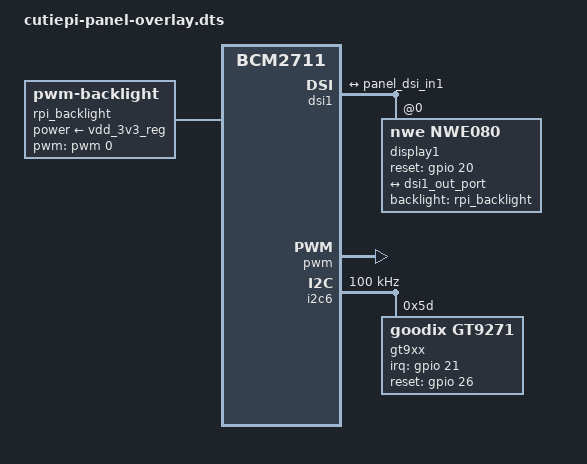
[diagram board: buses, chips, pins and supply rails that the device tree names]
/dts-v1/;
/plugin/;

/ {
    compatible = "brcm,bcm2711";

    fragment@0 {
        target=<&dsi1>;

        __overlay__ {
            status = "okay";

            #address-cells = <1>;
            #size-cells = <0>;

            port {
                dsi1_out_port: endpoint {
                    remote-endpoint = <&panel_dsi_in1>;
                };
            };

            display1: panel@0 {
                compatible = "nwe,nwe080";
                reg=<0>;
                backlight = <&rpi_backlight>;
                reset-gpios = <&gpio 20 0>;
                port {
                    panel_dsi_in1: endpoint {
                        remote-endpoint = <&dsi1_out_port>;
                    };
                };
            };
        };
    };

    fragment@1 {
        target = <&gpio>;
        __overlay__ {
            pwm_pins: pwm_pins {
                brcm,pins = <12>;
                brcm,function = <4>; // ALT0
            };
        };
    };

    fragment@2 {
        target = <&pwm>;
        frag1: __overlay__ {
            pinctrl-names = "default";
            pinctrl-0 = <&pwm_pins>;
            assigned-clock-rates = <1000000>;
            status = "okay";
        };
    };

    fragment@3 {
        target-path = "/";
        __overlay__ {
            rpi_backlight: rpi_backlight {
                compatible = "pwm-backlight";
                brightness-levels = <0 6 8 12 16 24 32 40 48 64 96 128 160 192 224 255>;
                default-brightness-level = <6>;
                pwms = <&pwm 0 200000>;
                power-supply = <&vdd_3v3_reg>;
                status = "okay";
            };
        };
    };

    fragment@4 {
        target = <&i2c6>;
        frag0: __overlay__ {
            status = "okay";
            pinctrl-names = "default";
            pinctrl-0 = <&i2c6_pins>;
            clock-frequency = <100000>;
        };
    };

    fragment@5 {
        target = <&i2c6_pins>;
        __overlay__ {
            brcm,pins = <22 23>;
        };
    };

    fragment@6 {
            target = <&gpio>;
            __overlay__ {
                goodix_pins: goodix_pins {
                    brcm,pins = <21 26>; // interrupt and reset
                    brcm,function = <0 0>; // in
                    brcm,pull = <2 2>; // pull-up
                };
            };
    };

    fragment@7 {
        target = <&i2c6>;
        __overlay__ {
            #address-cells = <1>;
            #size-cells = <0>;
            status = "okay";

            gt9xx: gt9xx@5d {
                compatible = "goodix,gt9271"; 
                reg = <0x5D>;
                pinctrl-names = "default";
                pinctrl-0 = <&goodix_pins>;
                interrupt-parent = <&gpio>;
                interrupts = <21 2>; // high-to-low edge triggered
                irq-gpios = <&gpio 21 0>; 
                reset-gpios = <&gpio 26 0>;
            };
        };
    };
};
